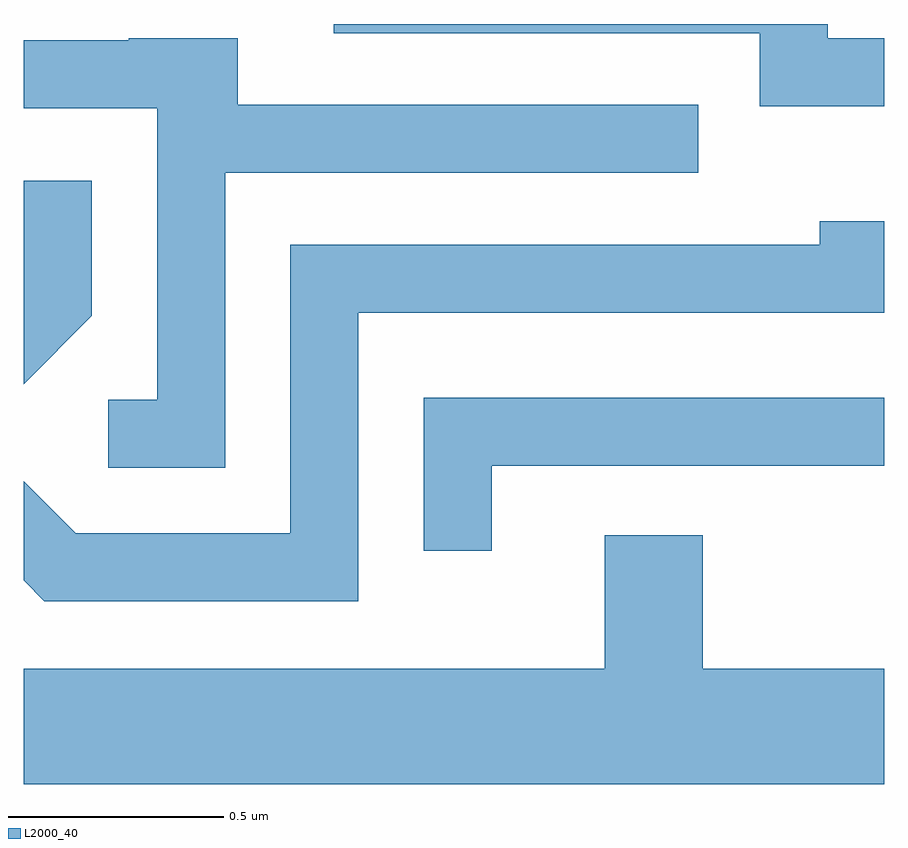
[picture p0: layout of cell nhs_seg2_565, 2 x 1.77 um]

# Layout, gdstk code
import gdstk
lib = gdstk.Library(unit=1e-6, precision=1e-09)
def P(c, l, *ps):  # polygons
    for p in ps: c.add(gdstk.Polygon(p, *l))
L2000_40 = (2000, 40)

nhs_seg2_565 = lib.new_cell('nhs_seg2_565')
P(nhs_seg2_565, L2000_40, [(191.611,996.769),(191.479,996.769),(191.479,996.802),(190.331,996.802),(190.331,996.781),(191.321,996.781),(191.321,996.611),(191.611,996.611)],
  [(190.079,996.456),(191.178,996.456),(191.178,996.614),(190.109,996.614),(190.109,996.769),(189.855,996.769),(189.855,996.764),(189.611,996.764),(189.611,996.606),(189.921,996.606),(189.921,995.929),(189.808,995.929),(189.808,995.771),(190.079,995.771)],
  [(189.769,996.124),(189.769,996.438),(189.611,996.438),(189.611,995.965)],
  [(190.389,996.131),(191.611,996.131),(191.611,996.344),(191.461,996.344),(191.461,996.289),(190.231,996.289),(190.231,995.619),(189.732,995.619),(189.611,995.74),(189.611,995.509),(189.659,995.461),(190.389,995.461)],
  [(190.699,995.776),(191.611,995.776),(191.611,995.934),(190.541,995.934),(190.541,995.578),(190.699,995.578)],
  [(191.611,995.304),(191.189,995.304),(191.189,995.614),(190.961,995.614),(190.961,995.304),(189.611,995.304),(189.611,995.036),(191.611,995.036)])

lib.write_gds('nhs_seg2_565.gds')
